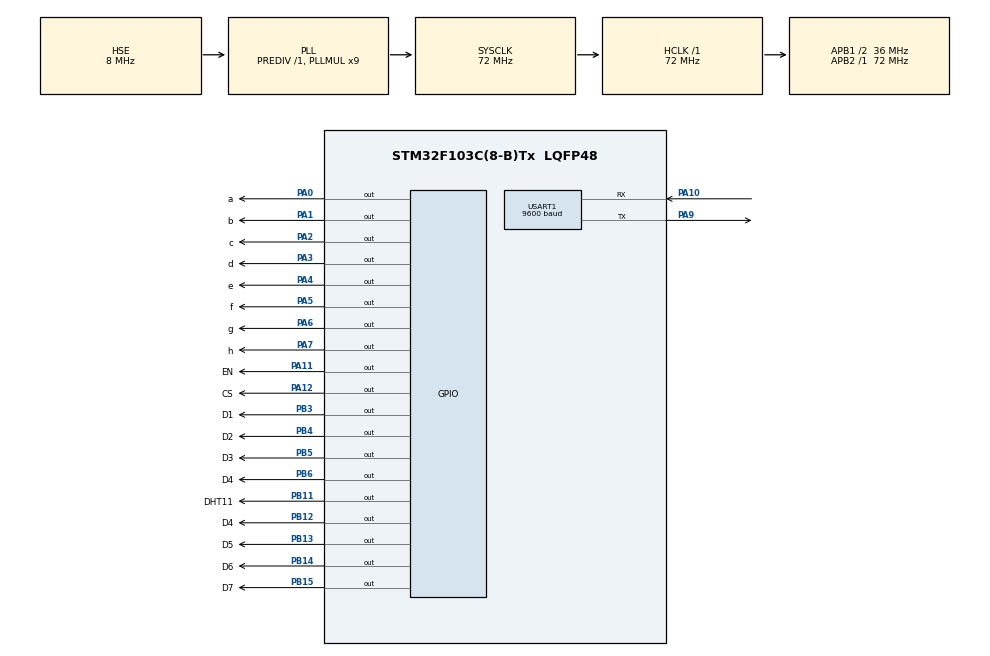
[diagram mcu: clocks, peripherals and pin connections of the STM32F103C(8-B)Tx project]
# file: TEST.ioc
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Mcu.Family=STM32F1
Mcu.Name=STM32F103C(8-B)Tx
Mcu.Package=LQFP48
NVIC.PriorityGroup=NVIC_PRIORITYGROUP_4
NVIC.TIM4_IRQn=true\:0\:0\:false\:false\:true\:true\:true\:true
NVIC.USART1_IRQn=true\:0\:0\:false\:false\:true\:true\:true\:true
PA0-WKUP.GPIO_Label=a
PA0-WKUP.Signal=GPIO_Output
PA1.GPIO_Label=b
PA1.Signal=GPIO_Output
PA10.Mode=Asynchronous
PA10.Signal=USART1_RX
PA11.GPIO_Label=EN
PA11.Signal=GPIO_Output
PA12.GPIO_Label=CS
PA12.Signal=GPIO_Output
PA13.Mode=Serial_Wire
PA13.Signal=SYS_JTMS-SWDIO
PA14.Mode=Serial_Wire
PA14.Signal=SYS_JTCK-SWCLK
PA2.GPIO_Label=c
PA2.Signal=GPIO_Output
PA3.GPIO_Label=d
PA3.Signal=GPIO_Output
PA4.GPIO_Label=e
PA4.Signal=GPIO_Output
PA5.GPIO_Label=f
PA5.Signal=GPIO_Output
PA6.GPIO_Label=g
PA6.Signal=GPIO_Output
PA7.GPIO_Label=h
PA7.Signal=GPIO_Output
PA9.Mode=Asynchronous
PA9.Signal=USART1_TX
PB11.GPIO_Label=DHT11
PB11.GPIO_ModeDefaultOutputPP=GPIO_MODE_OUTPUT_OD
PB11.GPIO_PuPd=GPIO_PULLUP
PB11.Signal=GPIO_Output
PB12.GPIO_Label=D4
PB12.Signal=GPIO_Output
PB13.GPIO_Label=D5
PB13.Signal=GPIO_Output
PB14.GPIO_Label=D6
PB14.Signal=GPIO_Output
PB15.GPIO_Label=D7
PB15.Signal=GPIO_Output
PB3.GPIO_Label=D1
PB3.Signal=GPIO_Output
PB4.GPIO_Label=D2
PB4.Signal=GPIO_Output
PB5.GPIO_Label=D3
PB5.Signal=GPIO_Output
PB6.GPIO_Label=D4
PB6.Signal=GPIO_Output
PD0-OSC_IN.Mode=HSE-External-Oscillator
PD0-OSC_IN.Signal=RCC_OSC_IN
PD1-OSC_OUT.Mode=HSE-External-Oscillator
PD1-OSC_OUT.Signal=RCC_OSC_OUT
ProjectManager.HeapSize=0x200
ProjectManager.StackSize=0x400
ProjectManager.TargetToolchain=MDK-ARM V5.32
RCC.AHBFreq_Value=72000000
RCC.APB1CLKDivider=RCC_HCLK_DIV2
RCC.APB1Freq_Value=36000000
RCC.APB1TimFreq_Value=72000000
RCC.APB2Freq_Value=72000000
RCC.APB2TimFreq_Value=72000000
RCC.HCLKFreq_Value=72000000
RCC.PLLMUL=RCC_PLL_MUL9
RCC.PLLSourceVirtual=RCC_PLLSOURCE_HSE
RCC.SYSCLKFreq_VALUE=72000000
RCC.SYSCLKSource=RCC_SYSCLKSOURCE_PLLCLK
RCC.USBFreq_Value=72000000
TIM4.Period=0xFFFF -1 
TIM4.Prescaler=72 -1
USART1.BaudRate=9600
USART1.VirtualMode=VM_ASYNC
VP_TIM4_VS_ClockSourceINT.Mode=Internal
board=custom

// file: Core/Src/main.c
/* USER CODE BEGIN Header */
/**
  ******************************************************************************
  * @file           : main.c
  * @brief          : Main program body
  ******************************************************************************
  * @attention
  *
  * Copyright (c) 2025 STMicroelectronics.
  * All rights reserved.
  *
  * This software is licensed under terms that can be found in the LICENSE file
  * in the root directory of this software component.
  * If no LICENSE file comes with this software, it is provided AS-IS.
  *
  ******************************************************************************
  */
/* USER CODE END Header */
#include "main.h"

/* USER CODE BEGIN PTD */
#include "lcd.h"
#include <stdio.h>
#include <string.h>
/* USER CODE END PTD */

TIM_HandleTypeDef htim4;

UART_HandleTypeDef huart1;

/* USER CODE BEGIN PV */
uint16_t Count;
uint8_t RH1, RH2, TC1, TC2, SUM, CHECK;
uint32_t pMillis, cMillis;
float tCelsius = 0;
float tFahrenheit = 0;
float RH = 0;

uint8_t rx_data;
char rx_buffer[100];
uint8_t rx_index = 0;
/* USER CODE END PV */

void SystemClock_Config(void);
static void MX_GPIO_Init(void);
static void MX_TIM4_Init(void);
static void MX_USART1_UART_Init(void);
/* USER CODE BEGIN PFP */

volatile uint32_t tick = 0;  // Global tick counter

/* USER CODE END PFP */

/* USER CODE BEGIN 0 */
#define DHT11_PORT GPIOB
#define DHT11_PIN GPIO_PIN_11
typedef enum {
    STATE_OFF,
    STATE_ON,
    STATE_START,
    STATE_RESTART,
    STATE_STOP,
} SystemState;
SystemState systemState = STATE_OFF;
typedef enum {
    DISPLAY_CELSIUS, // Hi?n th? nhi?t d? C
    DISPLAY_FAHRENHEIT // Hi?n th? nhi?t d? F
} DisplayMode;

DisplayMode displayMode = DISPLAY_CELSIUS;

int intPart;
int firstDigit;
int secondDigit;
int decimalPart;
int thirdDigit;
int fourthDigit;

uint8_t led_segments[] = {
    0xC0,  // 0
    0xF9,  // 1
    0xA4,  // 2
    0xB0,  // 3
    0x99,  // 4
    0x92,  // 5
    0x82,  // 6
    0xF8,  // 7
    0x80,  // 8
    0x90   // 9
};

void floatToString(float value, char *str)
{
    sprintf(str, "%.2f", value);
}

void microDelay (uint16_t delay)
{
  __HAL_TIM_SET_COUNTER(&htim4, 0);
  while (__HAL_TIM_GET_COUNTER(&htim4) < delay);
}

uint8_t DHT11_Start (void)
{
  uint8_t Response = 0;
  GPIO_InitTypeDef GPIO_InitStructPrivate = {0};
  GPIO_InitStructPrivate.Pin = DHT11_PIN;
  GPIO_InitStructPrivate.Mode = GPIO_MODE_OUTPUT_PP;
  GPIO_InitStructPrivate.Speed = GPIO_SPEED_FREQ_LOW;
  GPIO_InitStructPrivate.Pull = GPIO_NOPULL;
  HAL_GPIO_Init(DHT11_PORT, &GPIO_InitStructPrivate); // set the pin as output
  HAL_GPIO_WritePin (DHT11_PORT, DHT11_PIN, GPIO_PIN_RESET);   // pull the pin low
  microDelay (20000);   // wait for 20000us
  HAL_GPIO_WritePin (DHT11_PORT, DHT11_PIN, GPIO_PIN_SET);   // pull the pin high
  microDelay (30);   // wait for 30us
  GPIO_InitStructPrivate.Mode = GPIO_MODE_INPUT;
  GPIO_InitStructPrivate.Pull = GPIO_PULLUP;
  HAL_GPIO_Init(DHT11_PORT, &GPIO_InitStructPrivate); // set the pin as input
  microDelay (40);
  if (!(HAL_GPIO_ReadPin (DHT11_PORT, DHT11_PIN)))
  {
    microDelay (80);
    if ((HAL_GPIO_ReadPin (DHT11_PORT, DHT11_PIN))) Response = 1;
  }
  pMillis = HAL_GetTick();
  cMillis = HAL_GetTick();
  while ((HAL_GPIO_ReadPin (DHT11_PORT, DHT11_PIN)) && pMillis + 2 > cMillis)
  {
    cMillis = HAL_GetTick();
  }
  return Response;
}

uint8_t DHT11_Read (void)
{
  uint8_t a,b;
  for (a=0;a<8;a++)
  {
    pMillis = HAL_GetTick();
    cMillis = HAL_GetTick();
    while (!(HAL_GPIO_ReadPin (DHT11_PORT, DHT11_PIN)) && pMillis + 2 > cMillis)
    {  // wait for the pin to go high
      cMillis = HAL_GetTick();
    }
    microDelay (40);   // wait for 40 us
    if (!(HAL_GPIO_ReadPin (DHT11_PORT, DHT11_PIN)))   // if the pin is low
      b&= ~(1<<(7-a));
    else
      b|= (1<<(7-a));
    pMillis = HAL_GetTick();
    cMillis = HAL_GetTick();
    while ((HAL_GPIO_ReadPin (DHT11_PORT, DHT11_PIN)) && pMillis + 2 > cMillis)
    {  // wait for the pin to go low
      cMillis = HAL_GetTick();
    }
  }
  return b;
}

void displayTemperatureOnLCD(Lcd_HandleTypeDef *lcd, float temperatureC, float temperatureF, float humidity) {
    char tempStr[20], humStr[20];
    if (displayMode == DISPLAY_CELSIUS) {
        sprintf(tempStr, "%.2f\xDF""C", temperatureC);
    } else {
        sprintf(tempStr, "%.2f\xDF""F", temperatureF);
    }
    sprintf(humStr, "%.2f%%", humidity);
    Lcd_cursor(lcd, 0, 9);
    Lcd_string(lcd, tempStr);
    Lcd_cursor(lcd, 1, 9);
    Lcd_string(lcd, humStr);
}

void sendDataViaUART(UART_HandleTypeDef *huart, float temperature, float humidity) {
    char charData[50];
    sprintf(charData, "Lan do: %d\r\n", Count++);
    HAL_UART_Transmit(huart, (uint8_t *)charData, strlen(charData), 1000);
    sprintf(charData, "Nhiet do: %.2f C\r\n", temperature);
    HAL_UART_Transmit(huart, (uint8_t *)charData, strlen(charData), 1000);
    sprintf(charData, "Do am: %.2f %%\r\n", humidity);
    HAL_UART_Transmit(huart, (uint8_t *)charData, strlen(charData), 1000);
}

void processCommand(char* command) {
    if (strncmp(command, "SET_DISPLAY ", 12) == 0) {
        char* mode = command + 12;
        if (strcmp(mode, "C") == 0) {
            displayMode = DISPLAY_CELSIUS;
            HAL_UART_Transmit(&huart1, (uint8_t*)"Display mode set to Celsius\r\n", 29, HAL_MAX_DELAY);
        } else if (strcmp(mode, "F") == 0) {
            displayMode = DISPLAY_FAHRENHEIT;
            HAL_UART_Transmit(&huart1, (uint8_t*)"Display mode set to Fahrenheit\r\n", 32, HAL_MAX_DELAY);
        } else {
            HAL_UART_Transmit(&huart1, (uint8_t*)"Invalid display mode\r\n", 22, HAL_MAX_DELAY);
        }
    } else if (strcmp(command, "ON") == 0) {
        systemState = STATE_ON;
        HAL_UART_Transmit(&huart1, (uint8_t*)"System is ON\r\n", 14, HAL_MAX_DELAY);
    } else if (strcmp(command, "OFF") == 0) {
        systemState = STATE_OFF;
        HAL_UART_Transmit(&huart1, (uint8_t*)"System is OFF\r\n", 15, HAL_MAX_DELAY);
    } else if (strcmp(command, "START") == 0) {
        if (systemState == STATE_OFF) {
            HAL_UART_Transmit(&huart1, (uint8_t*)"Cannot START, system is OFF\r\n", 29, HAL_MAX_DELAY);
        } else {
            systemState = STATE_START;
            HAL_UART_Transmit(&huart1, (uint8_t*)"System STARTED\r\n", 16, HAL_MAX_DELAY);
        }
    } else if (strcmp(command, "RESTART") == 0) {
        systemState = STATE_RESTART;
        HAL_UART_Transmit(&huart1, (uint8_t*)"System RESTARTED\r\n", 18, HAL_MAX_DELAY);
    } else if (strcmp(command, "STOP") == 0) {
        if (systemState == STATE_OFF) {
            HAL_UART_Transmit(&huart1, (uint8_t*)"Cannot STOP, system is OFF\r\n", 28, HAL_MAX_DELAY);
        } else {
            systemState = STATE_STOP;
            HAL_UART_Transmit(&huart1, (uint8_t*)"System STOPPED\r\n", 16, HAL_MAX_DELAY);
        }
    }
		else {
        // L?nh khТng h?p l?
        HAL_UART_Transmit(&huart1, (uint8_t*)"Invalid command\r\n", 17, HAL_MAX_DELAY);
    }
}
void HAL_UART_RxCpltCallback(UART_HandleTypeDef *huart) {
    if (huart->Instance == USART1) {
        if (rx_data == '\r' || rx_data == '\n') {
            rx_buffer[rx_index] = '\0';
            processCommand(rx_buffer);
            rx_index = 0;
        } else if (rx_index < sizeof(rx_buffer) - 1) {
            rx_buffer[rx_index++] = rx_data;
        } else {
            rx_index = 0;
        }

        HAL_UART_Receive_IT(&huart1, &rx_data, 1);
    }
}

void displayDigit(uint8_t digit, uint8_t position) {

    HAL_GPIO_WritePin(GPIOB, GPIO_PIN_3 | GPIO_PIN_4 | GPIO_PIN_5 | GPIO_PIN_6, GPIO_PIN_SET);

    GPIOA->ODR = (GPIOA->ODR & 0xFF00) | led_segments[digit];

    switch (position) {
        case 1: HAL_GPIO_WritePin(GPIOB, GPIO_PIN_3, GPIO_PIN_RESET); break;
        case 2: HAL_GPIO_WritePin(GPIOB, GPIO_PIN_4, GPIO_PIN_RESET); break;
        case 3: HAL_GPIO_WritePin(GPIOB, GPIO_PIN_5, GPIO_PIN_RESET); break;
        case 4: HAL_GPIO_WritePin(GPIOB, GPIO_PIN_6, GPIO_PIN_RESET); break;
    }
}

void displayTemperatureOnLED(float temperature) {
    int intPart = (int)temperature;
    int decimalPart = (int)((temperature - intPart) * 100);

    uint8_t digit1 = intPart / 10;
    uint8_t digit2 = intPart % 10;
    uint8_t digit3 = decimalPart / 10;
    uint8_t digit4 = decimalPart % 10;

    static uint8_t currentPosition = 1;

    switch (currentPosition) {
        case 1: displayDigit(digit1, 1); break;
        case 2: displayDigit(digit2, 2); break;
        case 3: displayDigit(digit3, 3); break;
        case 4: displayDigit(digit4, 4); break;
    }

    currentPosition++;
    if (currentPosition > 4) currentPosition = 1;
}

void display_dot_on_D3(void) {
    HAL_GPIO_WritePin(GPIOA, GPIO_PIN_7, GPIO_PIN_RESET);
}

void clear_dot_on_D3(void) {
    HAL_GPIO_WritePin(GPIOA, GPIO_PIN_7, GPIO_PIN_SET);
}

void HAL_TIM_PeriodElapsedCallback(TIM_HandleTypeDef *htim) {
    if (htim->Instance == TIM2)
		{
        tick++;  // Increment the global tick counter every 1ms
    }
}
/* USER CODE END 0 */

int main(void)
{

  /* MCU Configuration--------------------------------------------------------*/

  /* Reset of all peripherals, Initializes the Flash interface and the Systick. */
  HAL_Init();

  /* Configure the system clock */
  SystemClock_Config();

  /* Initialize all configured peripherals */
  MX_GPIO_Init();
  MX_TIM4_Init();
  MX_USART1_UART_Init();
  /* USER CODE BEGIN 2 */
	HAL_TIM_Base_Start(&htim4);

  Lcd_PortType ports[] = { GPIOB, GPIOB, GPIOB, GPIOB };

  Lcd_PinType pins[] = {GPIO_PIN_12, GPIO_PIN_13, GPIO_PIN_14, GPIO_PIN_15}; // Lcd_PinType pins[] = {D4_Pin, D5_Pin, D6_Pin, D7_Pin};
  Lcd_HandleTypeDef lcd;
  // Lcd_create(ports, pins, RS_GPIO_Port, RS_Pin, EN_GPIO_Port, EN_Pin, LCD_4_BIT_MODE);
  lcd = Lcd_create(ports, pins, GPIOA, GPIO_PIN_12, GPIOA, GPIO_PIN_11, LCD_4_BIT_MODE);
  Lcd_cursor(&lcd, 0,0);
  Lcd_string(&lcd, "Nhiet do:");
	HAL_Delay(200);
	Lcd_cursor(&lcd, 1,0);
  Lcd_string(&lcd, "Do am:");
	HAL_Delay(200);

  /* USER CODE END 2 */

  /* Infinite loop */
  /* USER CODE BEGIN WHILE */
  while (1) {
        switch (systemState) {
            case STATE_OFF:
                break;
            case STATE_ON:
               systemState = STATE_START;
                break;
            case STATE_START:
                if (DHT11_Start()) {
                    RH1 = DHT11_Read();
                    RH2 = DHT11_Read();
                    TC1 = DHT11_Read();
                    TC2 = DHT11_Read();
                    SUM = DHT11_Read();
                    CHECK = RH1 + RH2 + TC1 + TC2;
                    if (CHECK == SUM) {
                        tCelsius = (TC1 > 127) ? (float)TC2 / 10 * (-1) : (float)((TC1 << 8) | TC2) / 400;
                        tFahrenheit = tCelsius * 9 / 5 + 32;
                        RH = (float)((RH1 << 8) | RH2) / 200;
                    }
                }

                sendDataViaUART(&huart1, tCelsius, RH);
                displayTemperatureOnLCD(&lcd, tCelsius, tFahrenheit, RH);
                display_dot_on_D3();
                displayTemperatureOnLED(tCelsius);
                HAL_Delay(1000);
                break;
            case STATE_RESTART:
                Count = 1 ;
                systemState = STATE_START;
                HAL_UART_Transmit(&huart1, (uint8_t*)"System RESTARTED\r\n", 18, HAL_MAX_DELAY);
                break;
            case STATE_STOP:
                HAL_UART_Transmit(&huart1, (uint8_t*)"System STOPPED\r\n", 16, HAL_MAX_DELAY);
								while (systemState == STATE_STOP) {
									microDelay(50);
								}
								break;
							}
    }
}
    /* USER CODE END WHILE */

void SystemClock_Config(void)
{
  RCC_OscInitTypeDef RCC_OscInitStruct = {0};
  RCC_ClkInitTypeDef RCC_ClkInitStruct = {0};

  /** Initializes the RCC Oscillators according to the specified parameters
  * in the RCC_OscInitTypeDef structure.
  */
  RCC_OscInitStruct.OscillatorType = RCC_OSCILLATORTYPE_HSE;
  RCC_OscInitStruct.HSEState = RCC_HSE_ON;
  RCC_OscInitStruct.HSEPredivValue = RCC_HSE_PREDIV_DIV1;
  RCC_OscInitStruct.HSIState = RCC_HSI_ON;
  RCC_OscInitStruct.PLL.PLLState = RCC_PLL_ON;
  RCC_OscInitStruct.PLL.PLLSource = RCC_PLLSOURCE_HSE;
  RCC_OscInitStruct.PLL.PLLMUL = RCC_PLL_MUL9;
  if (HAL_RCC_OscConfig(&RCC_OscInitStruct) != HAL_OK)
  {
    Error_Handler();
  }

  /** Initializes the CPU, AHB and APB buses clocks
  */
  RCC_ClkInitStruct.ClockType = RCC_CLOCKTYPE_HCLK|RCC_CLOCKTYPE_SYSCLK
                              |RCC_CLOCKTYPE_PCLK1|RCC_CLOCKTYPE_PCLK2;
  RCC_ClkInitStruct.SYSCLKSource = RCC_SYSCLKSOURCE_PLLCLK;
  RCC_ClkInitStruct.AHBCLKDivider = RCC_SYSCLK_DIV1;
  RCC_ClkInitStruct.APB1CLKDivider = RCC_HCLK_DIV2;
  RCC_ClkInitStruct.APB2CLKDivider = RCC_HCLK_DIV1;

  if (HAL_RCC_ClockConfig(&RCC_ClkInitStruct, FLASH_LATENCY_2) != HAL_OK)
  {
    Error_Handler();
  }
}

static void MX_TIM4_Init(void)
{

  TIM_ClockConfigTypeDef sClockSourceConfig = {0};
  TIM_MasterConfigTypeDef sMasterConfig = {0};

  htim4.Instance = TIM4;
  htim4.Init.Prescaler = 72 -1;
  htim4.Init.CounterMode = TIM_COUNTERMODE_UP;
  htim4.Init.Period = 0xFFFF -1 ;
  htim4.Init.ClockDivision = TIM_CLOCKDIVISION_DIV1;
  htim4.Init.AutoReloadPreload = TIM_AUTORELOAD_PRELOAD_DISABLE;
  if (HAL_TIM_Base_Init(&htim4) != HAL_OK)
  {
    Error_Handler();
  }
  sClockSourceConfig.ClockSource = TIM_CLOCKSOURCE_INTERNAL;
  if (HAL_TIM_ConfigClockSource(&htim4, &sClockSourceConfig) != HAL_OK)
  {
    Error_Handler();
  }
  sMasterConfig.MasterOutputTrigger = TIM_TRGO_RESET;
  sMasterConfig.MasterSlaveMode = TIM_MASTERSLAVEMODE_DISABLE;
  if (HAL_TIMEx_MasterConfigSynchronization(&htim4, &sMasterConfig) != HAL_OK)
  {
    Error_Handler();
  }

}

static void MX_USART1_UART_Init(void)
{

  huart1.Instance = USART1;
  huart1.Init.BaudRate = 9600;
  huart1.Init.WordLength = UART_WORDLENGTH_8B;
  huart1.Init.StopBits = UART_STOPBITS_1;
  huart1.Init.Parity = UART_PARITY_NONE;
  huart1.Init.Mode = UART_MODE_TX_RX;
  huart1.Init.HwFlowCtl = UART_HWCONTROL_NONE;
  huart1.Init.OverSampling = UART_OVERSAMPLING_16;
  if (HAL_UART_Init(&huart1) != HAL_OK)
  {
    Error_Handler();
  }
  /* USER CODE BEGIN USART1_Init 2 */
	HAL_UART_Receive_IT(&huart1, &rx_data, 1);
  /* USER CODE END USART1_Init 2 */

}

static void MX_GPIO_Init(void)
{
  GPIO_InitTypeDef GPIO_InitStruct = {0};

  /* GPIO Ports Clock Enable */
  __HAL_RCC_GPIOD_CLK_ENABLE();
  __HAL_RCC_GPIOA_CLK_ENABLE();
  __HAL_RCC_GPIOB_CLK_ENABLE();

  /*Configure GPIO pin Output Level */
  HAL_GPIO_WritePin(GPIOA, a_Pin|b_Pin|c_Pin|d_Pin
                          |e_Pin|f_Pin|g_Pin|h_Pin
                          |EN_Pin|CS_Pin, GPIO_PIN_RESET);

  /*Configure GPIO pin Output Level */
  HAL_GPIO_WritePin(GPIOB, DHT11_Pin|D4_Pin|D5_Pin|D6_Pin
                          |D7_Pin|D1_Pin|D2_Pin|D3_Pin
                          |D4B6_Pin, GPIO_PIN_RESET);

  /*Configure GPIO pins : a_Pin b_Pin c_Pin d_Pin
                           e_Pin f_Pin g_Pin h_Pin
                           EN_Pin CS_Pin */
  GPIO_InitStruct.Pin = a_Pin|b_Pin|c_Pin|d_Pin
                          |e_Pin|f_Pin|g_Pin|h_Pin
                          |EN_Pin|CS_Pin;
  GPIO_InitStruct.Mode = GPIO_MODE_OUTPUT_PP;
  GPIO_InitStruct.Pull = GPIO_NOPULL;
  GPIO_InitStruct.Speed = GPIO_SPEED_FREQ_LOW;
  HAL_GPIO_Init(GPIOA, &GPIO_InitStruct);

  /*Configure GPIO pin : DHT11_Pin */
  GPIO_InitStruct.Pin = DHT11_Pin;
  GPIO_InitStruct.Mode = GPIO_MODE_OUTPUT_OD;
  GPIO_InitStruct.Pull = GPIO_PULLUP;
  GPIO_InitStruct.Speed = GPIO_SPEED_FREQ_LOW;
  HAL_GPIO_Init(DHT11_GPIO_Port, &GPIO_InitStruct);

  /*Configure GPIO pins : D4_Pin D5_Pin D6_Pin D7_Pin
                           D1_Pin D2_Pin D3_Pin D4B6_Pin */
  GPIO_InitStruct.Pin = D4_Pin|D5_Pin|D6_Pin|D7_Pin
                          |D1_Pin|D2_Pin|D3_Pin|D4B6_Pin;
  GPIO_InitStruct.Mode = GPIO_MODE_OUTPUT_PP;
  GPIO_InitStruct.Pull = GPIO_NOPULL;
  GPIO_InitStruct.Speed = GPIO_SPEED_FREQ_LOW;
  HAL_GPIO_Init(GPIOB, &GPIO_InitStruct);

}

void Error_Handler(void)
{
  __disable_irq();
  while (1)
  {
  }
}
